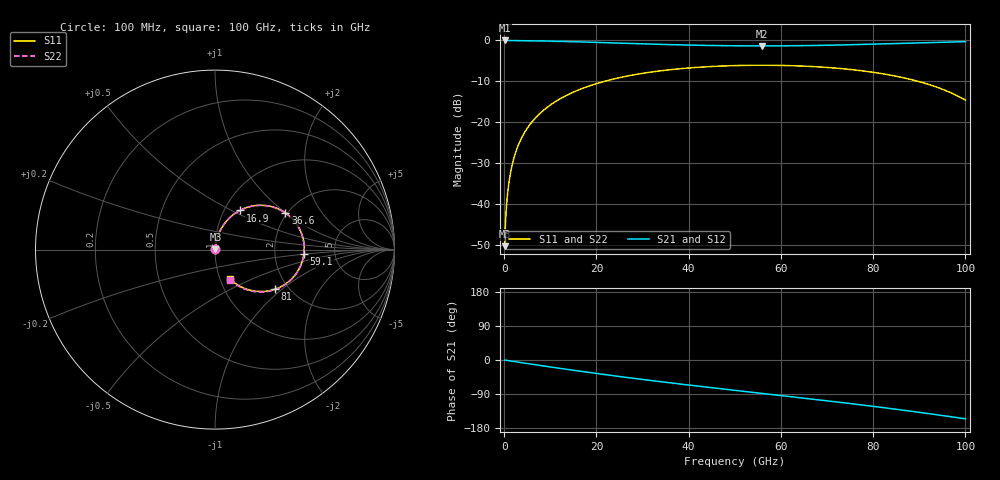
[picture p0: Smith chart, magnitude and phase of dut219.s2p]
! Touchstone file exported from HFSS 2026.1.0
!  File:  C:/ffzhzh/LocalFiles/Ansys_Project_Files/temp_train_RDL_219_1783500990_55944.aedt
!  Generated:  04:57:47 PM Jul  8, 2026
!  Design:  RDL
!  Project:  temp_train_RDL_219_1783500990_55944
! Variables:
!  h_bsmrdl = 2um
!  h_ox = 20um
!  h_rdl = 5um
!  h_sub = 80um
!  h_tmrdl = 3.9um
!  h_tsv = 80um
!  h_via = 3um
!  l_bsmrdl = 300um
!  l_sub = 931.17um
!  l_tmrdl = 531.17um
!  m_sub = 200um
!  pitch = 42.96um
!  r_tsv = 6um
!  s_tmrdl = 10um
!  w_bsmrdl = 18um
!  w_sub = 500um
!  w_tmrdl = 21.74um
!  x_tsv_center1 = 542.04um
!  x_tsv_center2 = 860.04um
!  x_tsv_center3 = 1412.95um
!  x_tsv_center4 = 1730.95um
!  x_tsv_center5 = 2283.86um
!  x_tsv_center6 = 2601.86um
# GHz S MA R 50.000000
! Terminal data exported
! Port[1] = TM_RDL1_1_T1
! Port[2] = TM_RDL1_1_T2
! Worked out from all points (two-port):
!   1000 points, 100 MHz to 100 GHz, reference 50 ohm
!   highest |S21| = -0.02 dB at 100 MHz (marker M1); lowest = -1.4 dB at 55.9 GHz (marker M2)
!   |S21| within 3 dB of the highest: start of sweep to end of sweep
!   lowest |S11| = -50.2 dB at 100 MHz (marker M3), VSWR 1.01, Z = 50.2 + j0.193 ohm
!   |S11| at or under -10 dB: start of sweep to 21.73 GHz; 89.75 GHz to end of sweep
!   |S22| runs from -50.2 to -6.1 dB; largest |S21 - S12| = 1.7e-14
!   S11 on the Smith chart (normalised r, x): 100 MHz: 1.00, +0.00; 16.9 GHz: 1.18, +0.55; 36.6 GHz: 1.95, +1.00; 59.1 GHz: 2.95, -0.20; 81 GHz: 1.70, -0.90; 100 GHz: 1.12, -0.38
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0.1  0.003082 38.7  0.9976 -0.2  0.9976 -0.2  0.003082 38.7
! Gamma 0 0 0 0
! Port Impedance 50 0 50 0
0.9  0.01606 77.3  0.9968 -1.7  0.9968 -1.7  0.01607 77.3
1.2  0.02111 79.1  0.9966 -2.3  0.9966 -2.3  0.02111 79.1
1.5  0.02618 80.0  0.9964 -2.8  0.9964 -2.8  0.02619 80.0
2.5  0.0431 80.4  0.9954 -4.7  0.9954 -4.7  0.0431 80.4
4  0.06816 78.8  0.9932 -7.5  0.9932 -7.5  0.06816 78.8
6.1  0.1023 75.5  0.9891 -11.3  0.9891 -11.3  0.1023 75.5
8.9  0.1459 70.9  0.9822 -16.4  0.9822 -16.4  0.1459 70.8
12.5  0.1989 64.9  0.9715 -22.7  0.9715 -22.7  0.1989 64.8
16.8  0.2571 57.8  0.9567 -30.1  0.9567 -30.1  0.2571 57.7
16.9  0.2584 57.6  0.9564 -30.3  0.9564 -30.3  0.2584 57.5
24.3  0.3436 45.9  0.9283 -42.5  0.9283 -42.5  0.3436 45.7
33.4  0.4217 32.2  0.8954 -56.5  0.8954 -56.5  0.4217 32.0
36.6  0.4422 27.6  0.8855 -61.2  0.8855 -61.2  0.4422 27.4
50.1  0.4926 9.0  0.8588 -80.1  0.8588 -80.1  0.4926 8.7
55.9  0.4973 1.3  0.856 -88.1  0.856 -88.1  0.4974 0.9
59.1  0.4957 -3.0  0.8569 -92.4  0.8569 -92.4  0.4958 -3.4
66.7  0.4798 -13.2  0.8654 -102.9  0.8654 -102.9  0.4799 -13.7
81  0.4 -33.5  0.9028 -123.8  0.9028 -123.8  0.4 -34.1
83.4  0.3797 -37.1  0.911 -127.5  0.911 -127.5  0.3797 -37.7
92.5  0.2845 -51.0  0.9429 -142.2  0.9429 -142.2  0.2845 -51.9
100  0.1866 -62.5  0.9647 -155.2  0.9647 -155.2  0.1865 -63.6
